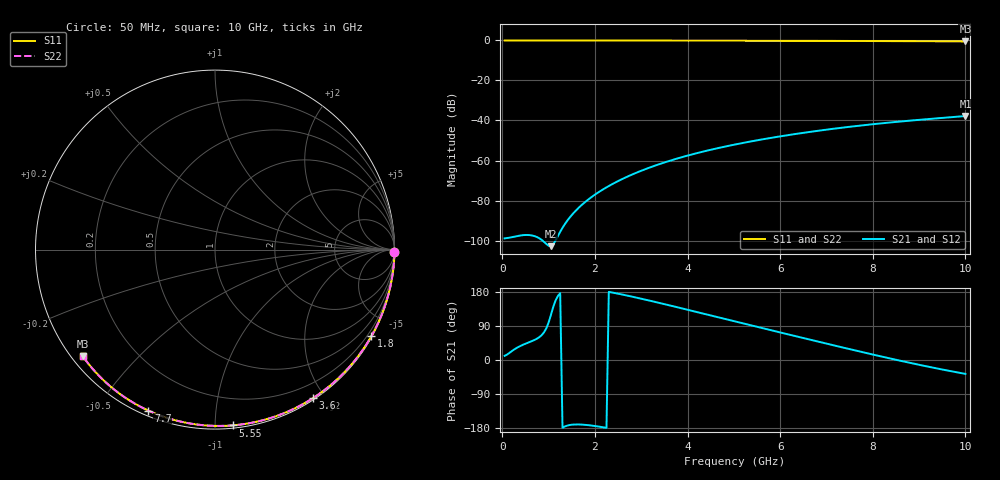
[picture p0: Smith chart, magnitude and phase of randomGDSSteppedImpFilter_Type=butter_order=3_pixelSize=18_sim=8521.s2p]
! freq	dB(S11)	phase(S11)	dB(S12)	phase(S12)
!  dB(S21)	phase(S21)	dB(S22)	phase(S22)
!S-par simulation data
#  GHz  S  DB  R 50
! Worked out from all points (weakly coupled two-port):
!   200 points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, 50 MHz to 10 GHz, reference 50 ohm
!   highest |S21| = -37.78 dB at 10 GHz (marker M1); lowest = -102.8 dB at 1.05 GHz (marker M2)
!   lowest |S11| = -0.5 dB at 10 GHz (marker M3), VSWR 36.36, Z = 1.55 - j17.7 ohm
!   |S11| at or under -10 dB: nowhere
!   |S22| runs from -0.5 to 0.0 dB; largest |S21 - S12| = 0
!   S11 on the Smith chart (normalised r, x): 50 MHz: open; 1.8 GHz: 0.03, -3.87; 3.6 GHz: 0.02, -1.86; 5.55 GHz: 0.02, -1.10; 7.7 GHz: 0.02, -0.67; 10 GHz: 0.03, -0.35
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0.05  -0.00 -0.8  -98.92 10.9  -98.92 10.9  -0.00 -0.8
0.55  -0.01 -9.0  -97.22 45.5  -97.22 45.5  -0.01 -9.0
1.05  -0.02 -17.0  -102.81 118.9  -102.81 118.9  -0.02 -17.0
1.75  -0.04 -28.2  -81.50 -170.7  -81.50 -170.7  -0.04 -28.2
1.8  -0.04 -29.0  -80.53 -171.2  -80.53 -171.2  -0.04 -29.0
1.85  -0.04 -29.8  -79.60 -171.8  -79.60 -171.8  -0.04 -29.8
2.05  -0.04 -32.9  -76.27 -175.0  -76.27 -175.0  -0.04 -32.9
2.2  -0.04 -35.2  -74.09 -178.0  -74.09 -178.0  -0.04 -35.2
2.55  -0.05 -40.7  -69.70 173.8  -69.70 173.8  -0.05 -40.7
2.95  -0.06 -46.8  -65.58 163.2  -65.58 163.2  -0.06 -46.8
3.4  -0.07 -53.6  -61.74 150.4  -61.74 150.4  -0.07 -53.6
3.6  -0.08 -56.6  -60.24 144.5  -60.24 144.5  -0.08 -56.6
3.9  -0.08 -61.0  -58.19 135.6  -58.19 135.6  -0.08 -61.0
4.3  -0.09 -66.8  -55.75 123.6  -55.75 123.6  -0.09 -66.8
5.05  -0.12 -77.4  -51.88 101.1  -51.88 101.1  -0.12 -77.4
5.55  -0.14 -84.3  -49.70 86.1  -49.70 86.1  -0.14 -84.3
6.1  -0.16 -91.7  -47.57 69.8  -47.57 69.8  -0.16 -91.7
6.7  -0.19 -99.6  -45.51 52.0  -45.51 52.0  -0.19 -99.6
7.7  -0.26 -112.4  -42.62 22.9  -42.62 22.9  -0.26 -112.4
8.35  -0.31 -120.6  -41.05 4.7  -41.05 4.7  -0.31 -120.6
9.2  -0.39 -131.1  -39.28 -17.7  -39.28 -17.7  -0.39 -131.1
10  -0.48 -141.0  -37.78 -36.7  -37.78 -36.7  -0.48 -141.0
